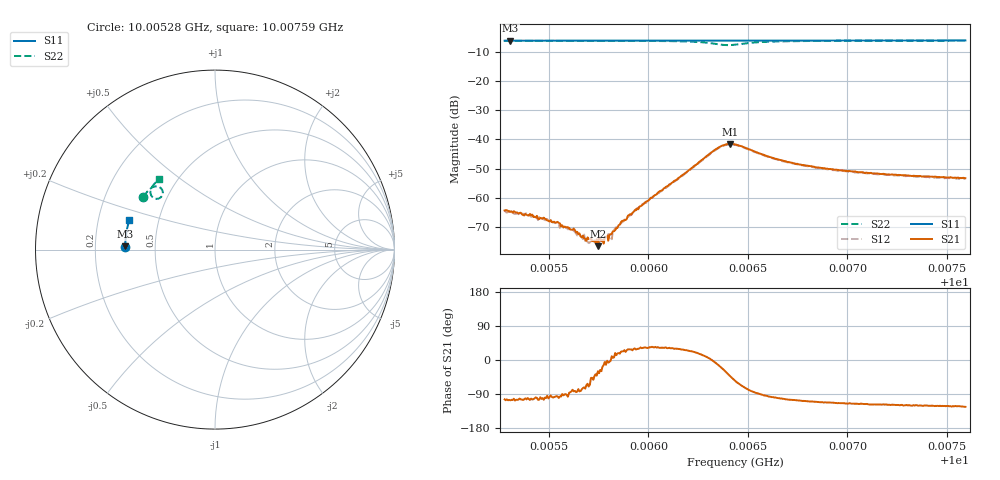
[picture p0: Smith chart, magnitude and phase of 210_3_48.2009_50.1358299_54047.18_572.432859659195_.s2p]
#  HZ  S  RI  R  50.00
! Rohde & Schwarz Vector Network Analyzer
! Rohde-Schwarz,ZNB20-2Port,1311601062101988,3.16
! Created: UTC 3/20/2024, 11:45:31 AM
! freq[Hz]  re:S11  im:S11  re:S21  im:S21  re:S12  im:S12  re:S22  im:S22
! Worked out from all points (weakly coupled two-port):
!   401 points, 10.00528 GHz to 10.00759 GHz, reference 50 ohm
!   highest |S21| = -41.53 dB at 10.00641 GHz (marker M1); lowest = -76.7 dB at 10.00575 GHz (marker M2)
!   lowest |S11| = -6.0 dB at 10.00531 GHz (marker M3), VSWR 3.00, Z = 16.7 + j0.768 ohm
!   |S11| at or under -10 dB: nowhere
!   |S22| runs from -7.5 to -6.0 dB; largest |S21 - S12| = 0.00051
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1.0005277e10  -0.5002 0.0155  -0.000143 -0.000582  -0.000129 -0.000593  -0.399 0.2944
1.0005306e10  -0.5 0.0173  -0.00016 -0.000545  -9.33e-05 -0.000562  -0.3978 0.296
1.0005393e10  -0.5 0.0231  -8.85e-05 -0.000486  -8.77e-05 -0.000491  -0.3942 0.3012
1.0005544e10  -0.4999 0.0329  -4.07e-05 -0.000381  -3.33e-05 -0.000348  -0.3875 0.3103
1.0005631e10  -0.4997 0.0386  4e-05 -0.000273  6.19e-05 -0.00025  -0.3834 0.3155
1.0005665e10  -0.4994 0.0409  4.54e-05 -0.000203  6.95e-05 -0.000197  -0.3817 0.3176
1.0005694e10  -0.4994 0.0426  9.46e-05 -0.000184  8.07e-05 -0.000153  -0.3802 0.3194
1.0005746e10  -0.4991 0.0461  0.000127 -7.25e-05  0.000161 -0.000118  -0.3775 0.3229
1.0005764e10  -0.499 0.0472  0.000155 -8.81e-05  0.00015 -7.84e-05  -0.3765 0.3238
1.0005787e10  -0.499 0.0486  0.000208 -4.61e-05  0.000192 -2.27e-05  -0.3753 0.3253
1.0005804e10  -0.4988 0.0497  0.000231 -1.86e-05  0.000201 8.44e-06  -0.3741 0.3266
1.0005833e10  -0.4987 0.0517  0.000263 8.65e-05  0.000296 6.52e-05  -0.3724 0.3283
1.0005862e10  -0.4986 0.0535  0.000351 0.000141  0.000335 0.000118  -0.3706 0.3303
1.0005937e10  -0.4982 0.0584  0.000536 0.000281  0.000531 0.00035  -0.3652 0.3352
1.0006053e10  -0.4976 0.0659  0.00106 0.000675  0.000965 0.00072  -0.3549 0.3433
1.0006331e10  -0.4948 0.0837  0.0065 -0.000545  0.00637 -0.000229  -0.2946 0.333
1.0006412e10  -0.4939 0.0884  0.0061 -0.00576  0.00628 -0.00532  -0.3066 0.2881
1.0006435e10  -0.4937 0.0897  0.00474 -0.00668  0.00502 -0.00631  -0.3201 0.2833
1.0006632e10  -0.4924 0.1023  -0.000731 -0.00468  -0.0005 -0.00462  -0.3595 0.3241
1.0006823e10  -0.4901 0.1146  -0.00114 -0.00322  -0.001 -0.00321  -0.3516 0.3478
1.0007211e10  -0.4847 0.1391  -0.00118 -0.0022  -0.00106 -0.00222  -0.3313 0.3745
1.0007593e10  -0.4781 0.1629  -0.00119 -0.0018  -0.00106 -0.00182  -0.3117 0.3939
